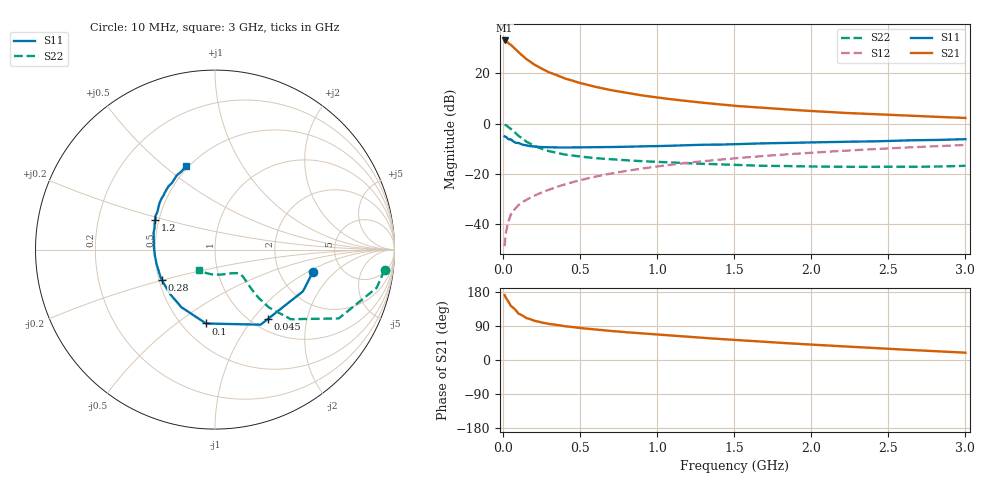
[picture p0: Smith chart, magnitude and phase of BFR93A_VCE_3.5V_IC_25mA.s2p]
! Infineon Technologies  Discrete & RF Semiconductors
! BFR93A
! VCE =  3.5 V,  IC =  25 mA
! Common Emitter S-Parameters:  Nov 2015
# GHz  S  MA  R  50
!  f  S11  S21  S12  S22
! GHz  MAG  ANG  MAG  ANG  MAG  ANG  MAG  ANG
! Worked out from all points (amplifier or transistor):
!   180 points, 10 MHz to 3 GHz, reference 50 ohm
!   highest |S21| = 33.0 dB at 10 MHz (marker M1)
!   |S21| within 3 dB of that: start of sweep to 71.62 MHz
!   unconditionally stable (mu >= 1): 380.2 MHz to 2.876 GHz
!   at 160 MHz: K = 0.75, MSG = 27.6 dB, |S12| = -30.0 dB
!   at 1.22 GHz: K = 1.08, MAG = 10.4 dB, |S12| = -15.4 dB
!   at 3 GHz: K = 0.99, MSG = 5.4 dB, |S12| = -8.5 dB
!   S11 on the Smith chart (normalised r, x): 10 MHz: 3.09, -1.12; 45 MHz: 1.18, -1.19; 100 MHz: 0.65, -0.65; 280 MHz: 0.52, -0.20; 1.2 GHz: 0.48, +0.18; 3 GHz: 0.48, +0.59
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0.01  0.5595 -12.9  44.69 171.2  0.0037 84.3  0.952 -6.8
0.02  0.5424 -25.4  43.34 163.2  0.0073 77.4  0.9254 -13.3
0.045  0.4861 -52.8  37.48 146.7  0.0141 69.8  0.8067 -26.1
0.05  0.4896 -58.7  36.75 142.9  0.0155 69.1  0.7887 -29.1
0.1  0.4147 -96.9  26.01 122.4  0.0243 62.7  0.5729 -42.6
0.15  0.3719 -120.1  19.18 111.0  0.0306 62.6  0.441 -47.0
0.2  0.3521 -135.3  15.04 104.0  0.0368 64.1  0.3637 -47.9
0.24  0.3437 -143.9  12.83 100.1  0.0417 65.3  0.325 -47.7
0.26  0.3418 -147.5  11.9 98.2  0.0441 65.8  0.3089 -47.4
0.28  0.3404 -150.3  11.14 96.8  0.0466 66.4  0.2961 -47.1
0.3  0.3398 -153.2  10.38 95.1  0.049 66.9  0.2833 -46.7
0.4  0.3354 -165.5  7.892 89.2  0.0621 68.7  0.2432 -45.2
0.52  0.3369 -175.8  6.179 83.6  0.078 69.1  0.2187 -44.1
0.6  0.3401 178.8  5.364 80.4  0.0887 69.1  0.2062 -43.9
0.7  0.3431 173.8  4.622 76.6  0.1021 68.9  0.1959 -44.4
0.9  0.3548 164.7  3.633 70.2  0.1282 67.5  0.1795 -46.9
1.02  0.3592 159.6  3.239 66.5  0.1439 66.4  0.1735 -49.1
1.2  0.3727 153.5  2.79 61.3  0.1674 64.5  0.1635 -53.6
1.52  0.3915 143.6  2.236 52.5  0.2071 60.8  0.1507 -63.0
2.02  0.424 131.1  1.766 40.2  0.2667 54.8  0.1407 -81.4
2.52  0.4555 119.6  1.481 29.2  0.3246 48.4  0.139 -102.4
3  0.491 109.4  1.296 19.3  0.3769 42.0  0.1456 -127.0
